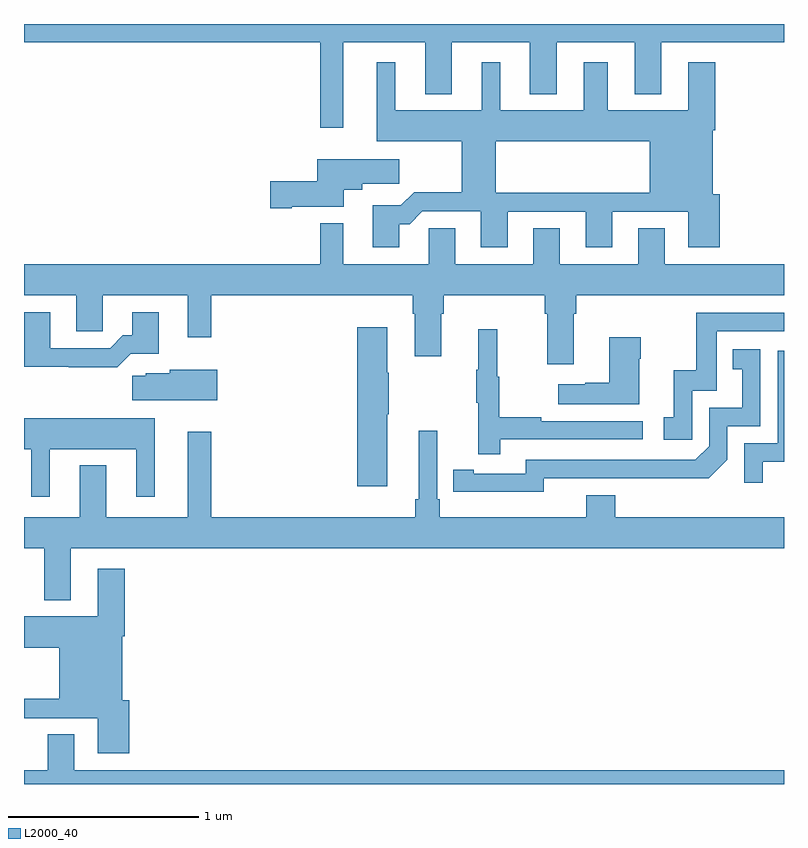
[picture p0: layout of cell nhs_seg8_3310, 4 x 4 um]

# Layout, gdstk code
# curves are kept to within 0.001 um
import gdstk
lib = gdstk.Library(unit=1e-6, precision=1e-09)
def P(c, l, *ps):  # polygons
    for p in ps: c.add(gdstk.Polygon(p, *l))
L2000_40 = (2000, 40)

nhs_seg8_3310 = lib.new_cell('nhs_seg8_3310')
P(nhs_seg8_3310, L2000_40, [(315,1145.804),(316.56,1145.804),(316.56,1145.355),(316.681,1145.355),(316.681,1145.804),(317.111,1145.804),(317.111,1145.531),(317.251,1145.531),(317.251,1145.804),(317.663,1145.804),(317.663,1145.531),(317.803,1145.531),(317.803,1145.804),(318.215,1145.804),(318.215,1145.531),(318.355,1145.531),(318.355,1145.804),(319,1145.804),(319,1145.9),(315,1145.9)],
  [(316.835,1144.945),(316.835,1144.725),(316.975,1144.725),(316.975,1144.847),(317.03,1144.847),(317.097,1144.914),(317.405,1144.914),(317.405,1144.725),(317.545,1144.725),(317.545,1144.911),(317.957,1144.911),(317.957,1144.725),(318.097,1144.725),(318.097,1144.911),(318.497,1144.911),(318.497,1144.725),(318.662,1144.725),(318.662,1145.004),(318.625,1145.004),(318.625,1145.342),(318.638,1145.342),(318.638,1145.698),(318.497,1145.698),(318.497,1145.446),(318.073,1145.446),(318.073,1145.698),(317.945,1145.698),(317.945,1145.446),(317.506,1145.446),(317.506,1145.698),(317.408,1145.698),(317.408,1145.446),(316.954,1145.446),(316.954,1145.698),(316.856,1145.698),(316.856,1145.282),(317.305,1145.282),(317.305,1145.015),(317.054,1145.015),(317.051,1145.012),(317.483,1145.012),(317.483,1145.282),(318.293,1145.282),(318.293,1145.012),(317.051,1145.012),(316.984,1144.945)],
  [(316.408,1144.937),(316.684,1144.937),(316.684,1145.027),(316.78,1145.027),(316.78,1145.059),(316.975,1145.059),(316.975,1145.188),(316.544,1145.188),(316.544,1145.072),(316.296,1145.072),(316.296,1144.93),(316.408,1144.93)],
  [(317.893,1144.376),(317.906,1144.376),(317.906,1144.472),(319,1144.472),(319,1144.636),(318.373,1144.636),(318.373,1144.826),(318.233,1144.826),(318.233,1144.636),(317.821,1144.636),(317.821,1144.826),(317.681,1144.826),(317.681,1144.636),(317.269,1144.636),(317.269,1144.826),(317.13,1144.826),(317.13,1144.636),(316.681,1144.636),(316.681,1144.852),(316.56,1144.852),(316.56,1144.636),(315,1144.636),(315,1144.472),(315.275,1144.472),(315.275,1144.282),(315.414,1144.282),(315.414,1144.472),(315.863,1144.472),(315.863,1144.251),(315.985,1144.251),(315.985,1144.472),(317.045,1144.472),(317.045,1144.376),(317.057,1144.376),(317.057,1144.152),(317.197,1144.152),(317.197,1144.376),(317.21,1144.376),(317.21,1144.472),(317.741,1144.472),(317.741,1144.376),(317.753,1144.376),(317.753,1144.11),(317.893,1144.11)],
  [(315.561,1144.164),(315.709,1144.164),(315.709,1144.384),(315.569,1144.384),(315.569,1144.261),(315.52,1144.261),(315.453,1144.194),(315.139,1144.194),(315.139,1144.384),(315,1144.384),(315,1144.096),(315.235,1144.096),(315.235,1144.094),(315.491,1144.094)],
  [(318.516,1143.969),(318.645,1143.969),(318.645,1144.284),(319,1144.284),(319,1144.38),(318.537,1144.38),(318.537,1144.078),(318.419,1144.078),(318.419,1143.831),(318.366,1143.831),(318.366,1143.711),(318.516,1143.711)],
  [(316.912,1143.847),(316.92,1143.847),(316.92,1144.064),(316.912,1144.064),(316.912,1144.303),(316.754,1144.303),(316.754,1143.468),(316.912,1143.468)],
  [(317.507,1143.714),(318.256,1143.714),(318.256,1143.81),(317.723,1143.81),(317.723,1143.83),(317.5,1143.83),(317.5,1144.044),(317.492,1144.044),(317.492,1144.294),(317.39,1144.294),(317.39,1144.081),(317.379,1144.081),(317.379,1143.907),(317.39,1143.907),(317.39,1143.636),(317.507,1143.636)],
  [(318.238,1144.139),(318.246,1144.139),(318.246,1144.252),(318.08,1144.252),(318.08,1144.013),(317.954,1144.013),(317.954,1144.003),(317.811,1144.003),(317.811,1143.899),(318.238,1143.899)],
  [(317.736,1143.51),(318.604,1143.509),(318.702,1143.606),(318.702,1143.783),(318.876,1143.783),(318.876,1144.189),(318.73,1144.189),(318.73,1144.083),(318.779,1144.083),(318.779,1143.879),(318.606,1143.879),(318.606,1143.678),(318.534,1143.606),(317.64,1143.606),(317.64,1143.534),(317.368,1143.534),(317.368,1143.554),(317.26,1143.554),(317.26,1143.438),(317.736,1143.437)],
  [(318.889,1143.597),(319,1143.597),(319,1144.179),(318.966,1144.179),(318.966,1143.693),(318.792,1143.693),(318.792,1143.486),(318.889,1143.486)],
  [(316.018,1144.081),(315.768,1144.081),(315.768,1144.063),(315.642,1144.063),(315.642,1144.049),(315.57,1144.049),(315.57,1143.92),(316.018,1143.92)],
  [(315.136,1143.662),(315.59,1143.662),(315.59,1143.411),(315.688,1143.411),(315.688,1143.826),(315,1143.826),(315,1143.662),(315.038,1143.662),(315.038,1143.411),(315.136,1143.411)],
  [(315.247,1143.14),(319,1143.14),(319,1143.304),(318.113,1143.304),(318.113,1143.421),(317.96,1143.421),(317.96,1143.304),(317.189,1143.304),(317.189,1143.4),(317.175,1143.4),(317.175,1143.76),(317.078,1143.76),(317.078,1143.4),(317.059,1143.4),(317.059,1143.304),(315.985,1143.304),(315.985,1143.754),(315.863,1143.754),(315.863,1143.304),(315.433,1143.304),(315.433,1143.577),(315.293,1143.577),(315.293,1143.304),(315,1143.304),(315,1143.14),(315.107,1143.14),(315.107,1142.867),(315.247,1142.867)],
  [(315.554,1142.34),(315.517,1142.34),(315.517,1142.678),(315.53,1142.678),(315.53,1143.034),(315.389,1143.034),(315.389,1142.782),(315,1142.782),(315,1142.618),(315.185,1142.618),(315.185,1142.348),(315,1142.348),(315,1142.247),(315.389,1142.247),(315.389,1142.061),(315.554,1142.061)],
  [(319,1141.972),(315.265,1141.972),(315.265,1142.162),(315.125,1142.162),(315.125,1141.972),(315,1141.972),(315,1141.9),(319,1141.9)])

lib.write_gds('nhs_seg8_3310.gds')
